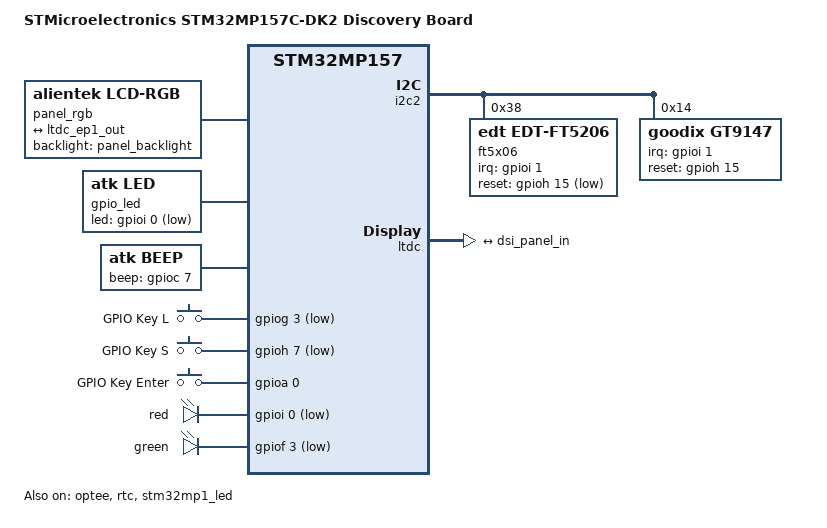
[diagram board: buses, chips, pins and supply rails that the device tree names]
// SPDX-License-Identifier: (GPL-2.0+ OR BSD-3-Clause)
/*
 * Copyright (C) STMicroelectronics 2019 - All Rights Reserved
 * Author: Alexandre Torgue <alexandre.torgue@st.com> for STMicroelectronics.
 */

/dts-v1/;

#include "stm32mp157.dtsi"
#include "stm32mp15xd.dtsi"
#include "stm32mp15-pinctrl.dtsi"
#include "stm32mp15xxaa-pinctrl.dtsi"
#include "stm32mp157d-atk.dtsi"
#include <dt-bindings/rtc/rtc-stm32.h>
#include <dt-bindings/input/input.h>

/ {
	model = "STMicroelectronics STM32MP157C-DK2 Discovery Board";
	compatible = "st,stm32mp157d-atk", "st,stm32mp157";

	aliases {
		ethernet0 = &ethernet0;
		serial0 = &uart4;
		serial1 = &usart3;
		serial2 = &uart5;
		serial3 = &uart7;
	};

	chosen {
		stdout-path = "serial0:115200n8";
	};

	reserved-memory {

		gpu_reserved: gpu@f6000000 {
			reg = <0xf6000000 0x8000000>;
			no-map;
		};

        optee_memory: optee@fe000000 {
			reg = <0xfe000000 0x2000000>;
			no-map;
        };
	};

    panel_rgb: panel-rgb {
        compatible = "alientek,lcd-rgb";
        backlight = <&panel_backlight>;
        status = "okay";

		port {
			dsi_panel_in: endpoint {
				remote-endpoint = <&ltdc_ep1_out>;
			};
		};
	};
    
    stm32mp1_led{
        compatible = "atkstm32mp1-led";
        status = "okay";
        reg = <0x50000A28 0x04    /* RCC_MP_AHB4ENSETR */ 
               0x5000A000 0x04    /* GPIOI_MODER */ 
               0x5000A004 0x04    /* GPIOI_OTYPER */ 
               0x5000A008 0x04    /* GPIOI_OSPEEDR */ 
               0x5000A00C 0x04    /* GPIOI_PUPDR */ 
               0x5000A018 0x04 >; /* GPIOI_BSRR */
    };
  
    gpio_led{
        compatible = "atk,led";
        pinctrl-names = "default";
        pinctrl-0 = <&led_pins_a>;
        led_gpio = <&gpioi 0 GPIO_ACTIVE_LOW>;
        status ="okay";
    };
    beep{
        compatible = "atk,beep";
        status ="okay";
        pinctrl-names = "default";
        pinctrl-0 = <&beep_pins_a>;
        beep-gpio = <&gpioc 7 GPIO_ACTIVE_HIGH>;
    };
/*
    key{
        compatible = "atk,key";
        status ="okay";
        pinctrl-names = "default";
        pinctrl-0 = <&key_pins_a>;
        key-gpio = <&gpiog 3 GPIO_ACTIVE_LOW>;
        interrupt-parent = <&gpiog>;
        interrupts = <3 IRQ_TYPE_EDGE_BOTH>;
    };
    */
    gpio-keys {
            compatible = "gpio-keys";
            pinctrl-names = "default";
            pinctrl-0 = <&key_pins_a>;
            autorepeat;

            key0 {
                label = "GPIO Key L";
                linux,code = <KEY_L>;
                gpios = <&gpiog 3 GPIO_ACTIVE_LOW>;
            };
            
            key1 {
                label = "GPIO Key S";
                linux,code = <KEY_S>;
                gpios = <&gpioh 7 GPIO_ACTIVE_LOW>;
            };

            key2 {
                label = "GPIO Key Enter";
                linux,code = <KEY_ENTER>;
                gpios = <&gpioa 0 GPIO_ACTIVE_HIGH>;
                gpio-key,wakeup;
            };
    };

    
    dtsleds{
        compatible = "gpio-leds";
        pinctrl-0 = <&led_pins_a>;

        led0{
            label = "red";
            gpios = <&gpioi 0 GPIO_ACTIVE_LOW>;
            default-state = "on";
            linux,default-trigger = "heartbeat";
        };

        led1{
            label = "green";
            gpios = <&gpiof 3 GPIO_ACTIVE_LOW>;
            default-state = "off";
        };
    };    
};
&sound {
    dais = <&sai2a_port &sai2b_port &spdifrx_port>;
};
&hdmi {
    status = "disabled";
};

&i2c2 {

    ft5x06: ft5x06@38 {
        compatible = "edt,edt-ft5206";
        reg = <0x38>;
        irq-gpios = <&gpioi 1 GPIO_ACTIVE_HIGH>;
        reset-gpios = <&gpioh 15 GPIO_ACTIVE_LOW>;
        status = "okay";
    };

    gt9147: gt9147@14 {
        compatible = "goodix,gt9147","goodix,gt1151";
        reg = <0x14>;
        interrupt-parent = <&gpioi>;
        interrupts = <1 IRQ_TYPE_EDGE_RISING>;
        irq-gpios = <&gpioi 1 GPIO_ACTIVE_HIGH>;
        reset-gpios = <&gpioh 15 GPIO_ACTIVE_HIGH>;
        status = "okay";
    };
};

&ltdc {
    port {
        #address-cells = <1>;
        #size-cells = <0>;

        ltdc_ep1_out: endpoint@1 {
            reg = <1>;
            remote-endpoint = <&dsi_panel_in>;
        };
    };
};

&optee_memory {
     status = "okay";
};
&optee {
    status = "okay";
};
&rtc {
    status = "okay";
};
